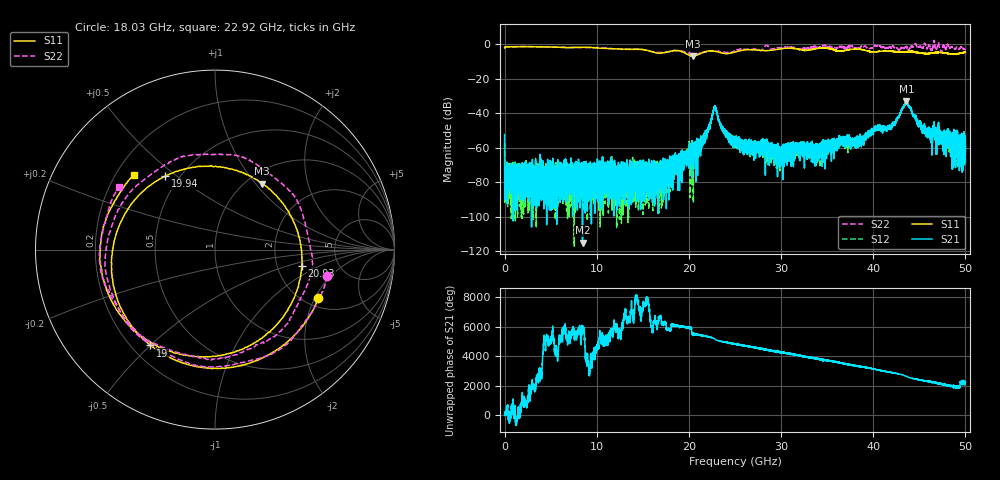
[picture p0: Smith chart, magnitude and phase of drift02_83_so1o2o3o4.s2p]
!Created with skrf (http://scikit-rf.org).
# Hz S RI R 50.0
!freq ReS11 ImS11 ReS21 ImS21 ReS12 ImS12 ReS22 ImS22
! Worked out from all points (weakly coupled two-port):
!   10001 points, 300 kHz to 50 GHz, reference 50 ohm
!   highest |S21| = -32.91 dB at 43.61 GHz (marker M1); lowest = -114.9 dB at 8.455 GHz (marker M2)
!   lowest |S11| = -6.9 dB at 20.44 GHz (marker M3), VSWR 2.64, Z = 58.5 + j53.9 ohm
!   |S11| at or under -10 dB: nowhere
!   |S22| runs from -5.7 to 2.2 dB; largest |S21 - S12| = 0.0038
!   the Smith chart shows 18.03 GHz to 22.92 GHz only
!   S11 on the Smith chart (normalised r, x): 18.03 GHz: 2.36, -2.14; 19 GHz: 0.27, -0.50; 19.94 GHz: 0.42, +0.45; 20.93 GHz: 2.76, -0.65; 22.92 GHz: 0.27, +0.37
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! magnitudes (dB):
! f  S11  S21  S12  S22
! 300 kHz  -2.1  -52.3  -57.2  -2.1
! 255.3 MHz  -1.4  -86.2  -82.2  -1.4
! 8.335 GHz  -1.7  -77.8  -77.0  -1.9
! 8.455 GHz  -1.7  -114.9  -75.4  -1.9
! 16.67 GHz  -5.2  -69.6  -70.8  -4.7
! 18.03 GHz  -3.9  -70.1  -72.8  -3.9
! 19 GHz  -3.8  -67.1  -67.8  -3.9
! 19.94 GHz  -6.1  -64.0  -63.6  -5.2
! 20.44 GHz  -6.9  -61.5  -63.8  -5.4
! 20.93 GHz  -6.2  -60.3  -59.4  -5.6
! 22.92 GHz  -4.2  -37.3  -37.3  -3.9
! 23.76 GHz  -5.3  -50.3  -51.0  -4.6
! 25 GHz  -4.5  -57.5  -55.5  -3.9
! 29.78 GHz  -2.8  -61.4  -64.0  -2.0
! 33.34 GHz  -3.0  -58.4  -62.4  -1.5
! 38.28 GHz  -2.8  -57.9  -55.2  -2.2
! 40.32 GHz  -4.4  -47.9  -49.7  -0.9
! 41.67 GHz  -4.0  -48.2  -48.8  -1.9
! 43.61 GHz  -4.4  -32.9  -33.4  -1.5
! 45.57 GHz  -5.3  -48.5  -48.6  0.3
! 49.75 GHz  -4.8  -61.8  -64.1  -2.4
! 50 GHz  -4.6  -61.5  -69.1  -2.8
